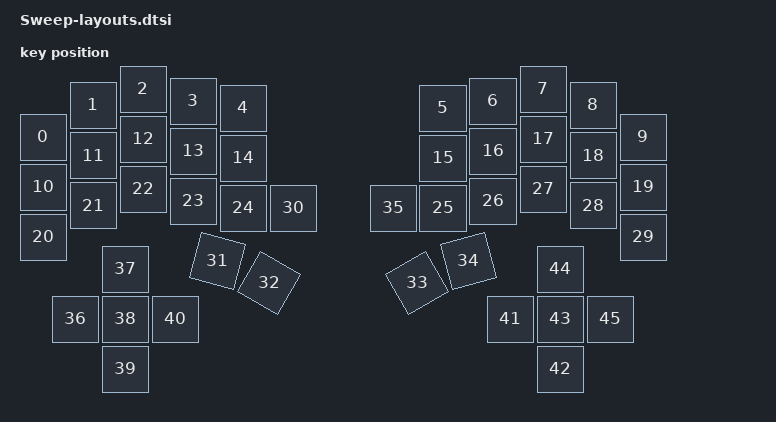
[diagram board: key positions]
#include <physical_layouts.dtsi>

/ {
    physical_layout: physical_layout_0 {
        compatible = "zmk,physical-layout";
        display-name = "Sweep";

        // kscan = <&kscan0>;
        // transform = <&matrix_transform0>;

        studio-config {
        compatible = "zmk,studio-config";
        };

        keys  //                     w   h    x    y     rot    rx    ry
            = <&key_physical_attrs 100 100    0   96       0     0     0>
            , <&key_physical_attrs 100 100  100   32       0     0     0>
            , <&key_physical_attrs 100 100  200    0       0     0     0>
            , <&key_physical_attrs 100 100  300   24       0     0     0>
            , <&key_physical_attrs 100 100  400   38       0     0     0>
            , <&key_physical_attrs 100 100  800   38       0     0     0>
            , <&key_physical_attrs 100 100  900   24       0     0     0>
            , <&key_physical_attrs 100 100 1000    0       0     0     0>
            , <&key_physical_attrs 100 100 1100   32       0     0     0>
            , <&key_physical_attrs 100 100 1200   96       0     0     0>
            , <&key_physical_attrs 100 100    0  196       0     0     0>
            , <&key_physical_attrs 100 100  100  133       0     0     0>
            , <&key_physical_attrs 100 100  200  100       0     0     0>
            , <&key_physical_attrs 100 100  300  124       0     0     0>
            , <&key_physical_attrs 100 100  400  138       0     0     0>
            , <&key_physical_attrs 100 100  800  138       0     0     0>
            , <&key_physical_attrs 100 100  900  124       0     0     0>
            , <&key_physical_attrs 100 100 1000  100       0     0     0>
            , <&key_physical_attrs 100 100 1100  133       0     0     0>
            , <&key_physical_attrs 100 100 1200  196       0     0     0>
            , <&key_physical_attrs 100 100    0  296       0     0     0>
            , <&key_physical_attrs 100 100  100  233       0     0     0>
            , <&key_physical_attrs 100 100  200  200       0     0     0>
            , <&key_physical_attrs 100 100  300  224       0     0     0>
            , <&key_physical_attrs 100 100  400  238       0     0     0>
            , <&key_physical_attrs 100 100  800  238       0     0     0>
            , <&key_physical_attrs 100 100  900  224       0     0     0>
            , <&key_physical_attrs 100 100 1000  200       0     0     0>
            , <&key_physical_attrs 100 100 1100  233       0     0     0>
            , <&key_physical_attrs 100 100 1200  296       0     0     0>
            , <&key_physical_attrs 100 100  500  238       0     0     0>
            , <&key_physical_attrs 100 100  349  344    1500   399   394>
            , <&key_physical_attrs 100 100  452  388    3000   502   438>
            , <&key_physical_attrs 100 100  748  388 (-3000)   798   438>
            , <&key_physical_attrs 100 100  851  344 (-1500)   901   394>
            , <&key_physical_attrs 100 100  700  238       0     0     0>
            , <&key_physical_attrs 100 100   65  460       0     0     0>
            , <&key_physical_attrs 100 100  165  360       0     0     0>
            , <&key_physical_attrs 100 100  165  460       0     0     0>
            , <&key_physical_attrs 100 100  165  560       0     0     0>
            , <&key_physical_attrs 100 100  265  460       0     0     0>
            , <&key_physical_attrs 100 100  935  460       0     0     0>
            , <&key_physical_attrs 100 100 1035  560       0     0     0>
            , <&key_physical_attrs 100 100 1035  460       0     0     0>
            , <&key_physical_attrs 100 100 1035  360       0     0     0>
            , <&key_physical_attrs 100 100 1135  460       0     0     0>
            ;
            };
};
